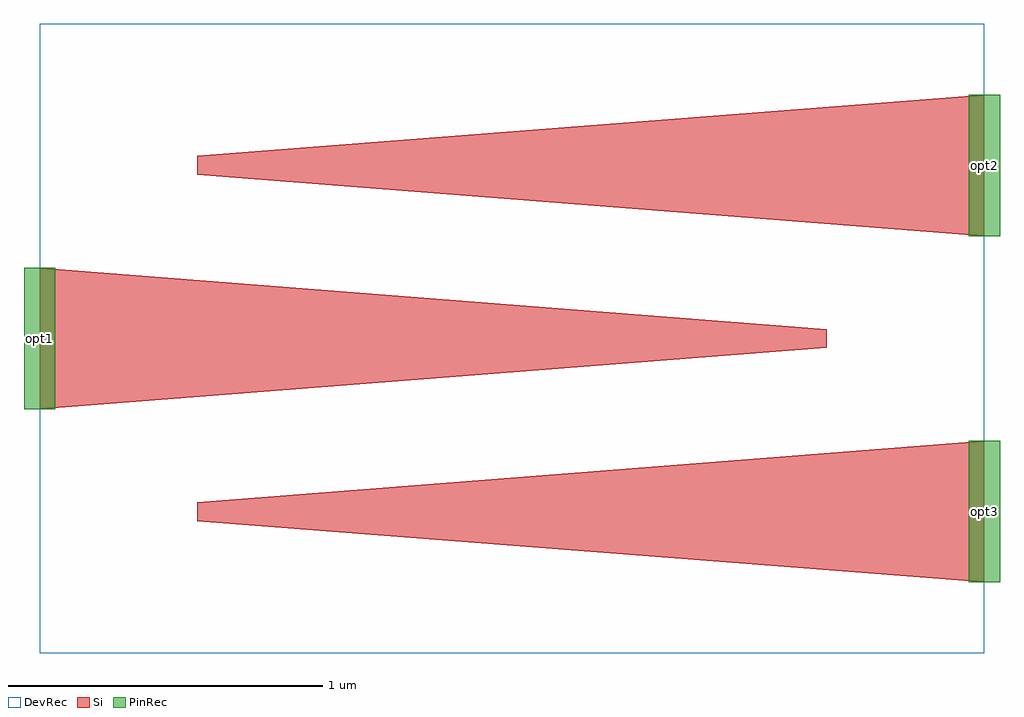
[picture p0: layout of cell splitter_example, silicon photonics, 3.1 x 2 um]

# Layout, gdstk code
import gdstk
lib = gdstk.Library(unit=1e-6, precision=1e-09)
def R(c, l, rs):  # rectangles x0, y0, x1, y1
    for r in rs: c.add(gdstk.rectangle(r[:2], r[2:], *l))
def P(c, l, *ps):  # polygons
    for p in ps: c.add(gdstk.Polygon(p, *l))
Si = (1, 0)
PinRec = (1, 10)
DevRec = (68, 0)

splitter_example = lib.new_cell('splitter_example')
P(splitter_example, Si, [(0,-0.225),(0,0.225),(2.5,0.03),(2.5,-0.03)],
  [(3,0.325),(0.5,0.52),(0.5,0.58),(3,0.775)],
  [(3,-0.775),(0.5,-0.58),(0.5,-0.52),(3,-0.325)])
R(splitter_example, DevRec, [(0,-1,3,1)])
splitter_example.add(gdstk.FlexPath([(0.05,0),(-0.05,0)], 0.45, ends="flush", simple_path=True, layer=1, datatype=10))  # PinRec
splitter_example.add(gdstk.FlexPath([(2.95,0.55),(3.05,0.55)], 0.45, ends="flush", simple_path=True, layer=1, datatype=10))  # PinRec
splitter_example.add(gdstk.FlexPath([(2.95,-0.55),(3.05,-0.55)], 0.45, ends="flush", simple_path=True, layer=1, datatype=10))  # PinRec
splitter_example.add(gdstk.Label('opt2', (3,0.55), layer=1, texttype=10))
splitter_example.add(gdstk.Label('opt3', (3,-0.55), layer=1, texttype=10))
splitter_example.add(gdstk.Label('opt1', (0,0), layer=1, texttype=10))

lib.write_gds('splitter_example.gds')
